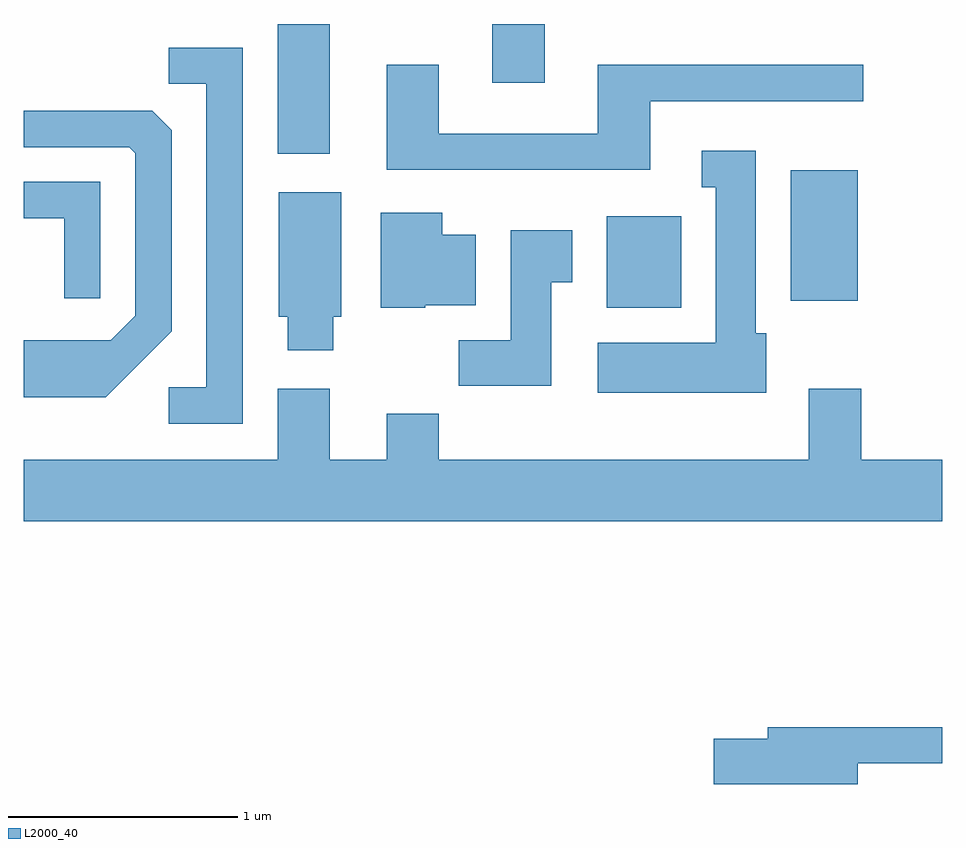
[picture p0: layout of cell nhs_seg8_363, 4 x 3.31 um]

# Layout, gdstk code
import gdstk
lib = gdstk.Library(unit=1e-6, precision=1e-09)
def R(c, l, rs):  # rectangles x0, y0, x1, y1
    for r in rs: c.add(gdstk.rectangle(r[:2], r[2:], *l))
def P(c, l, *ps):  # polygons
    for p in ps: c.add(gdstk.Polygon(p, *l))
L2000_40 = (2000, 40)

nhs_seg8_363 = lib.new_cell('nhs_seg8_363')
R(nhs_seg8_363, L2000_40, [(198.151,1855.106,198.474,1855.504), (198.951,1855.136,199.244,1855.704), (196.716,1855.776,196.944,1856.342), (197.651,1856.086,197.879,1856.342)])
P(nhs_seg8_363, L2000_40, [(196.564,1856.239),(196.243,1856.239),(196.243,1856.081),(196.406,1856.081),(196.406,1854.759),(196.243,1854.759),(196.243,1854.601),(196.564,1854.601)],
  [(198.339,1856.006),(199.268,1856.006),(199.268,1856.164),(198.111,1856.164),(198.111,1855.864),(197.419,1855.864),(197.419,1856.164),(197.191,1856.164),(197.191,1855.706),(198.339,1855.706)],
  [(196.254,1855.004),(196.254,1855.879),(196.169,1855.964),(195.611,1855.964),(195.611,1855.806),(196.069,1855.806),(196.096,1855.779),(196.096,1855.072),(195.989,1854.964),(195.611,1854.964),(195.611,1854.716),(195.967,1854.716)],
  [(198.844,1854.994),(198.799,1854.994),(198.799,1855.789),(198.563,1855.789),(198.563,1855.631),(198.626,1855.631),(198.626,1854.954),(198.111,1854.954),(198.111,1854.736),(198.844,1854.736)],
  [(195.944,1855.654),(195.611,1855.654),(195.611,1855.496),(195.786,1855.496),(195.786,1855.148),(195.944,1855.148)],
  [(196.959,1855.066),(196.994,1855.066),(196.994,1855.609),(196.721,1855.609),(196.721,1855.066),(196.761,1855.066),(196.761,1854.921),(196.959,1854.921)],
  [(197.36,1855.116),(197.579,1855.116),(197.579,1855.424),(197.434,1855.424),(197.434,1855.519),(197.166,1855.519),(197.166,1855.106),(197.36,1855.106)],
  [(197.909,1855.216),(197.999,1855.216),(197.999,1855.444),(197.731,1855.444),(197.731,1854.964),(197.506,1854.964),(197.506,1854.766),(197.909,1854.766)],
  [(199.611,1854.444),(199.259,1854.444),(199.259,1854.754),(199.031,1854.754),(199.031,1854.444),(197.419,1854.444),(197.419,1854.644),(197.191,1854.644),(197.191,1854.444),(196.944,1854.444),(196.944,1854.754),(196.716,1854.754),(196.716,1854.444),(195.611,1854.444),(195.611,1854.176),(199.611,1854.176)],
  [(199.244,1853.121),(199.611,1853.121),(199.611,1853.279),(198.851,1853.279),(198.851,1853.229),(198.616,1853.229),(198.616,1853.031),(199.244,1853.031)])

lib.write_gds('nhs_seg8_363.gds')
